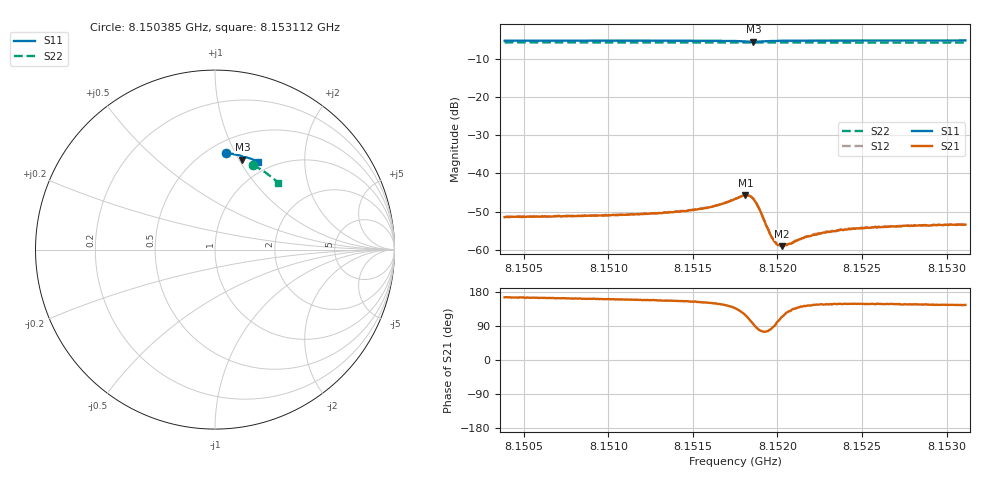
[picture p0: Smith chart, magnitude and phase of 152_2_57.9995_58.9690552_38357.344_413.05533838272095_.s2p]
#  HZ  S  RI  R  50.00
! Rohde & Schwarz Vector Network Analyzer
! Rohde-Schwarz,ZNB20-2Port,1311601062101988,3.16
! Created: UTC 3/21/2024, 12:57:04 AM
! freq[Hz]  re:S11  im:S11  re:S21  im:S21  re:S12  im:S12  re:S22  im:S22
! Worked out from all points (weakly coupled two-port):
!   401 points, 8.150385 GHz to 8.153112 GHz, reference 50 ohm
!   highest |S21| = -45.76 dB at 8.15181 GHz (marker M1); lowest = -59.1 dB at 8.152028 GHz (marker M2)
!   lowest |S11| = -5.6 dB at 8.151858 GHz (marker M3), VSWR 3.20, Z = 37.4 + j51.7 ohm
!   |S11| at or under -10 dB: nowhere
!   |S22| runs from -5.8 to -5.8 dB; largest |S21 - S12| = 0.00012
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8.1503854e9  0.0588 0.538  -0.00258 0.00067  -0.00263 0.000693  0.2108 0.4701
8.1508421e9  0.091 0.5342  -0.00261 0.000881  -0.00266 0.000918  0.2371 0.4569
8.1512987e9  0.1234 0.5284  -0.00277 0.00118  -0.00277 0.00124  0.2626 0.442
8.1514555e9  0.1349 0.5255  -0.00292 0.00134  -0.00291 0.00141  0.2712 0.4365
8.1515714e9  0.1438 0.5225  -0.00307 0.00166  -0.00309 0.00173  0.2774 0.4323
8.15166e9  0.1513 0.5192  -0.00329 0.00209  -0.00327 0.00218  0.282 0.4291
8.1517486e9  0.1585 0.513  -0.00335 0.00315  -0.00333 0.00324  0.2867 0.4258
8.1518099e9  0.1598 0.5045  -0.00245 0.00453  -0.00239 0.00456  0.2896 0.4231
8.1518372e9  0.1565 0.5013  -0.00131 0.00487  -0.00129 0.00491  0.2909 0.4223
8.1518576e9  0.1529 0.5012  -0.000344 0.00461  -0.000265 0.00462  0.2917 0.4214
8.1518917e9  0.1495 0.5054  0.000653 0.00336  0.000665 0.00341  0.2935 0.4205
8.1519462e9  0.1525 0.5124  0.000415 0.00177  0.00042 0.00179  0.2964 0.4188
8.1519735e9  0.1556 0.5142  6.88e-05 0.00138  9.57e-05 0.00137  0.2979 0.4177
8.151994e9  0.1578 0.5149  -0.000169 0.00118  -0.000156 0.0012  0.299 0.4169
8.1520076e9  0.1593 0.5151  -0.000281 0.00111  -0.000272 0.00112  0.2997 0.4164
8.152028e9  0.1614 0.5153  -0.00046 0.00102  -0.000458 0.00103  0.3006 0.4156
8.1520689e9  0.1655 0.5154  -0.000754 0.000931  -0.000782 0.000913  0.3027 0.4141
8.1521575e9  0.1731 0.5142  -0.00116 0.000873  -0.00113 0.000884  0.3074 0.4106
8.1522052e9  0.1769 0.5134  -0.00127 0.000896  -0.00126 0.000945  0.3099 0.4088
8.1523688e9  0.189 0.5099  -0.00153 0.000955  -0.00155 0.00101  0.3182 0.4022
8.1526619e9  0.2091 0.5029  -0.0017 0.00107  -0.00169 0.00109  0.3323 0.3901
8.1531117e9  0.2383 0.4906  -0.00175 0.00121  -0.00175 0.00126  0.3531 0.3702
